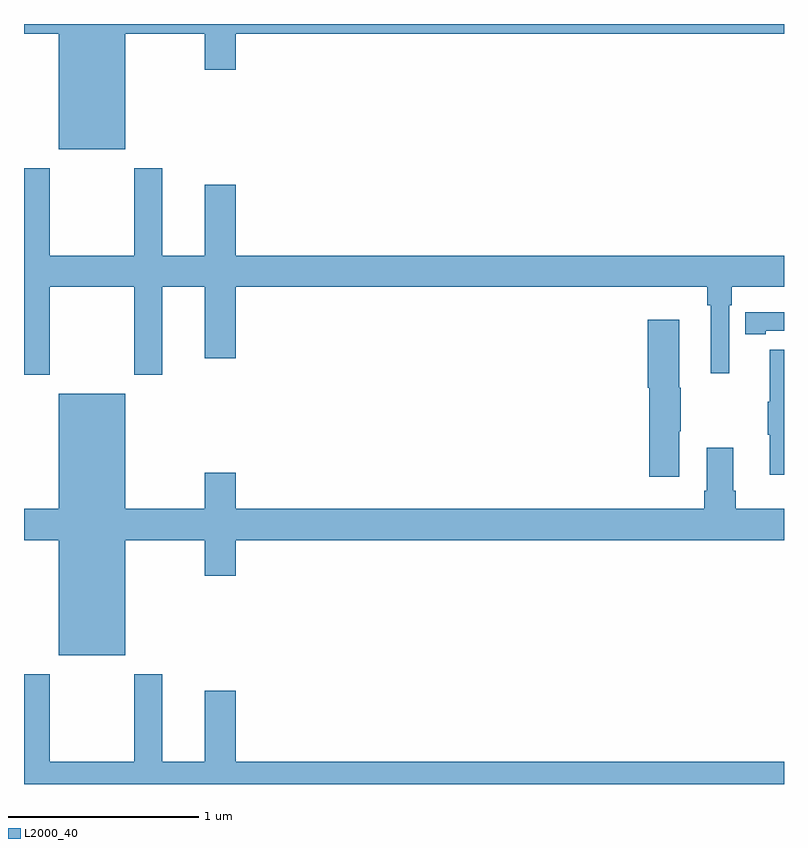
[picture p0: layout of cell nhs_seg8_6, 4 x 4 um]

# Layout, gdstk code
import gdstk
lib = gdstk.Library(unit=1e-6, precision=1e-09)
def P(c, l, *ps):  # polygons
    for p in ps: c.add(gdstk.Polygon(p, *l))
L2000_40 = (2000, 40)

nhs_seg8_6 = lib.new_cell('nhs_seg8_6')
P(nhs_seg8_6, L2000_40, [(111.532,1101.848),(111.95,1101.848),(111.95,1101.66),(112.114,1101.66),(112.114,1101.848),(115,1101.848),(115,1101.9),(111,1101.9),(111,1101.848),(111.182,1101.848),(111.182,1101.242),(111.532,1101.242)],
  [(111.135,1100.516),(111.58,1100.516),(111.58,1100.055),(111.727,1100.055),(111.727,1100.516),(111.95,1100.516),(111.95,1100.142),(112.114,1100.142),(112.114,1100.516),(114.595,1100.516),(114.595,1100.42),(114.614,1100.42),(114.614,1100.061),(114.711,1100.061),(114.711,1100.42),(114.725,1100.42),(114.725,1100.516),(115,1100.516),(115,1100.68),(112.114,1100.68),(112.114,1101.055),(111.95,1101.055),(111.95,1100.68),(111.727,1100.68),(111.727,1101.142),(111.58,1101.142),(111.58,1100.68),(111.135,1100.68),(111.135,1101.142),(111,1101.142),(111,1100.055),(111.135,1100.055)],
  [(114.904,1100.286),(115,1100.286),(115,1100.383),(114.904,1100.383),(114.904,1100.382),(114.796,1100.382),(114.796,1100.266),(114.904,1100.266)],
  [(114.448,1099.756),(114.456,1099.756),(114.456,1099.986),(114.448,1099.986),(114.448,1100.344),(114.284,1100.344),(114.284,1099.986),(114.29,1099.986),(114.29,1099.518),(114.448,1099.518)],
  [(115,1100.185),(114.926,1100.185),(114.926,1099.913),(114.915,1099.913),(114.915,1099.739),(114.926,1099.739),(114.926,1099.527),(115,1099.527)],
  [(111.532,1099.184),(111.95,1099.184),(111.95,1098.996),(112.114,1098.996),(112.114,1099.184),(115,1099.184),(115,1099.348),(114.746,1099.348),(114.746,1099.444),(114.733,1099.444),(114.733,1099.669),(114.593,1099.669),(114.593,1099.444),(114.581,1099.444),(114.581,1099.348),(112.114,1099.348),(112.114,1099.537),(111.95,1099.537),(111.95,1099.348),(111.532,1099.348),(111.532,1099.954),(111.182,1099.954),(111.182,1099.348),(111,1099.348),(111,1099.184),(111.182,1099.184),(111.182,1098.578),(111.532,1098.578)],
  [(115,1098.016),(112.114,1098.016),(112.114,1098.391),(111.95,1098.391),(111.95,1098.016),(111.727,1098.016),(111.727,1098.478),(111.58,1098.478),(111.58,1098.016),(111.135,1098.016),(111.135,1098.478),(111,1098.478),(111,1097.9),(115,1097.9)])

lib.write_gds('nhs_seg8_6.gds')
